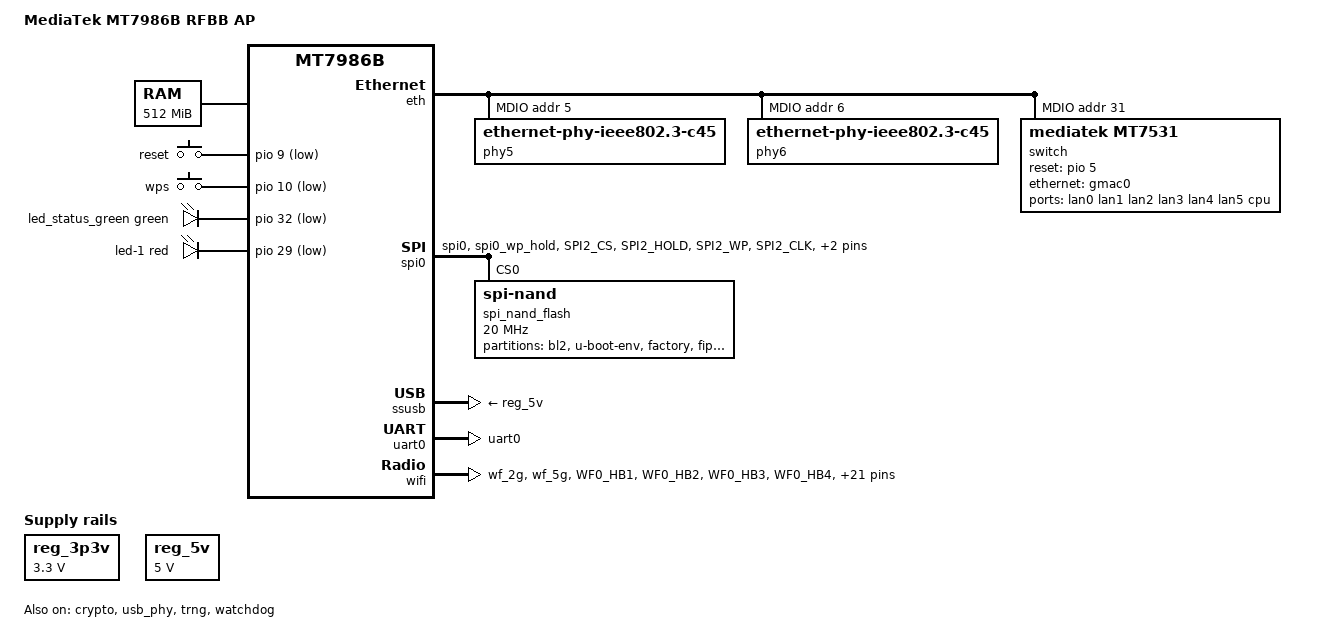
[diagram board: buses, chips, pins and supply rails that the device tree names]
// SPDX-License-Identifier: (GPL-2.0 OR MIT)

/dts-v1/;
#include <dt-bindings/input/input.h>
#include <dt-bindings/gpio/gpio.h>
#include <dt-bindings/leds/common.h>
#include <dt-bindings/pinctrl/mt65xx.h>

#include "mt7986b.dtsi"

/ {
	model = "MediaTek MT7986B RFBB AP";
	compatible = "mediatek,mt7986b-rfbb", "mediatek,mt7986b";

	aliases {
		serial0 = &uart0;
		led-boot = &led_status_green;
		led-failsafe = &led_status_green;
		led-running = &led_status_green;
		led-upgrade = &led_status_green;
	};

	chosen {
		stdout-path = "serial0:115200n8";
		rootdisk = <&ubi_rootdisk>;
		bootargs-append = " root=/dev/fit0 rootwait";
	};

	memory@40000000 {
		device_type = "memory";
		reg = <0 0x40000000 0 0x20000000>;
	};

	reg_3p3v: regulator-3p3v {
		compatible = "regulator-fixed";
		regulator-name = "fixed-3.3V";
		regulator-min-microvolt = <3300000>;
		regulator-max-microvolt = <3300000>;
		regulator-always-on;
		regulator-boot-on;
	};

	reg_5v: regulator-5v {
		compatible = "regulator-fixed";
		regulator-name = "fixed-5V";
		regulator-min-microvolt = <5000000>;
		regulator-max-microvolt = <5000000>;
		regulator-always-on;
		regulator-boot-on;
	};

	keys {
		compatible = "gpio-keys";

		reset {
			label = "reset";
			gpios = <&pio 9 GPIO_ACTIVE_LOW>;
			linux,code = <KEY_RESTART>;
		};

		wps {
			label = "wps";
			gpios = <&pio 10 GPIO_ACTIVE_LOW>;
			linux,code = <KEY_WPS_BUTTON>;
		};
	};

	leds {
		compatible = "gpio-leds";

		led_status_green: led-0 {
			color = <LED_COLOR_ID_GREEN>;
			function = LED_FUNCTION_STATUS;
			gpios = <&pio 32 GPIO_ACTIVE_LOW>;
		};

		led-1 {
			color = <LED_COLOR_ID_RED>;
			function = LED_FUNCTION_STATUS;
			gpios = <&pio 29 GPIO_ACTIVE_LOW>;
			panic-indicator;
		};
	};
};

&crypto {
	status = "okay";
};

&eth {
	status = "okay";

	gmac0: mac@0 {
		/* LAN, via MT7531 switch */
		compatible = "mediatek,eth-mac";
		reg = <0>;
		phy-mode = "2500base-x";

		fixed-link {
			speed = <2500>;
			full-duplex;
			pause;
		};
	};

	gmac1: mac@1 {
		/* 2.5G WAN, direct to GPY211C */
		compatible = "mediatek,eth-mac";
		reg = <1>;
		phy-mode = "2500base-x";
		phy-handle = <&phy6>;
	};

	mdio: mdio-bus {
		#address-cells = <1>;
		#size-cells = <0>;
	};
};

&mdio {
	reset-gpios = <&pio 6 GPIO_ACTIVE_LOW>;
	reset-delay-us = <50000>;
	reset-post-delay-us = <20000>;

	/* MaxLinear GPY211C feeding switch port 5 */
	phy5: phy@5 {
		compatible = "ethernet-phy-ieee802.3-c45";
		reg = <5>;
	};

	/* MaxLinear GPY211C on the 2.5G WAN port */
	phy6: phy@6 {
		compatible = "ethernet-phy-ieee802.3-c45";
		reg = <6>;
	};

	switch: switch@1f {
		compatible = "mediatek,mt7531";
		reg = <31>;
		reset-gpios = <&pio 5 GPIO_ACTIVE_HIGH>;
	};
};

&switch {
	ports {
		#address-cells = <1>;
		#size-cells = <0>;

		port@0 {
			reg = <0>;
			label = "lan0";
		};

		port@1 {
			reg = <1>;
			label = "lan1";
		};

		port@2 {
			reg = <2>;
			label = "lan2";
		};

		port@3 {
			reg = <3>;
			label = "lan3";
		};

		port@4 {
			reg = <4>;
			label = "lan4";
		};

		port@5 {
			reg = <5>;
			label = "lan5";
			phy-mode = "2500base-x";
			phy-handle = <&phy5>;
		};

		port@6 {
			reg = <6>;
			label = "cpu";
			ethernet = <&gmac0>;
			phy-mode = "2500base-x";

			fixed-link {
				speed = <2500>;
				full-duplex;
				pause;
			};
		};
	};
};

&pio {
	spi_flash_pins: spi-flash-pins-33-to-38 {
		mux {
			function = "spi";
			groups = "spi0", "spi0_wp_hold";
		};
		conf-pu {
			pins = "SPI2_CS", "SPI2_HOLD", "SPI2_WP";
			drive-strength = <MTK_DRIVE_8mA>;
			bias-disable;
		};
		conf-pd {
			pins = "SPI2_CLK", "SPI2_MOSI", "SPI2_MISO";
			drive-strength = <MTK_DRIVE_8mA>;
			bias-disable;
		};
	};

	uart0_pins: uart0-pins {
		mux {
			function = "uart";
			groups = "uart0";
		};
	};

	wf_2g_5g_pins: wf-2g-5g-pins {
		mux {
			function = "wifi";
			groups = "wf_2g", "wf_5g";
		};
		conf {
			pins = "WF0_HB1", "WF0_HB2", "WF0_HB3", "WF0_HB4",
			       "WF0_HB0", "WF0_HB0_B", "WF0_HB5", "WF0_HB6",
			       "WF0_HB7", "WF0_HB8", "WF0_HB9", "WF0_HB10",
			       "WF0_TOP_CLK", "WF0_TOP_DATA", "WF1_HB1",
			       "WF1_HB2", "WF1_HB3", "WF1_HB4", "WF1_HB0",
			       "WF1_HB5", "WF1_HB6", "WF1_HB7", "WF1_HB8",
			       "WF1_TOP_CLK", "WF1_TOP_DATA";
			drive-strength = <MTK_DRIVE_4mA>;
		};
	};

	wf_dbdc_pins: wf-dbdc-pins {
		mux {
			function = "wifi";
			groups = "wf_dbdc";
		};
		conf {
			pins = "WF0_HB1", "WF0_HB2", "WF0_HB3", "WF0_HB4",
			       "WF0_HB0", "WF0_HB0_B", "WF0_HB5", "WF0_HB6",
			       "WF0_HB7", "WF0_HB8", "WF0_HB9", "WF0_HB10",
			       "WF0_TOP_CLK", "WF0_TOP_DATA";
			drive-strength = <MTK_DRIVE_4mA>;
		};
	};
};

&spi0 {
	pinctrl-names = "default";
	pinctrl-0 = <&spi_flash_pins>;
	status = "okay";

	spi_nand_flash: flash@0 {
		compatible = "spi-nand";
		reg = <0>;

		spi-max-frequency = <20000000>;
		spi-tx-bus-width = <4>;
		spi-rx-bus-width = <4>;

		mediatek,nmbm;
		mediatek,bmt-max-ratio = <1>;
		mediatek,bmt-max-reserved-blocks = <256>;
		mediatek,bmt-remap-range = <0x0 0x580000>;

		partitions: partitions {
			compatible = "fixed-partitions";
			#address-cells = <1>;
			#size-cells = <1>;

			partition@0 {
				label = "bl2";
				reg = <0x0 0x100000>;
				read-only;
			};

			partition@100000 {
				label = "u-boot-env";
				reg = <0x100000 0x80000>;
			};

			factory: partition@180000 {
				label = "factory";
				reg = <0x180000 0x200000>;
				read-only;
			};

			partition@380000 {
				label = "fip";
				reg = <0x380000 0x200000>;
				read-only;
			};

			partition@580000 {
				compatible = "linux,ubi";
				label = "ubi";
				reg = <0x580000 0x7280000>;

				volumes {
					ubi_rootdisk: ubi-volume-fit {
						volname = "fit";
					};
				};
			};
		};
	};
};

&ssusb {
	vusb33-supply = <&reg_3p3v>;
	vbus-supply = <&reg_5v>;
	status = "okay";
};

&usb_phy {
	status = "okay";
};

&trng {
	status = "okay";
};

&uart0 {
	pinctrl-names = "default";
	pinctrl-0 = <&uart0_pins>;
	status = "okay";
};

&watchdog {
	status = "okay";
};

&wifi {
	status = "okay";

	pinctrl-names = "default", "dbdc";
	pinctrl-0 = <&wf_2g_5g_pins>;
	pinctrl-1 = <&wf_dbdc_pins>;
};
